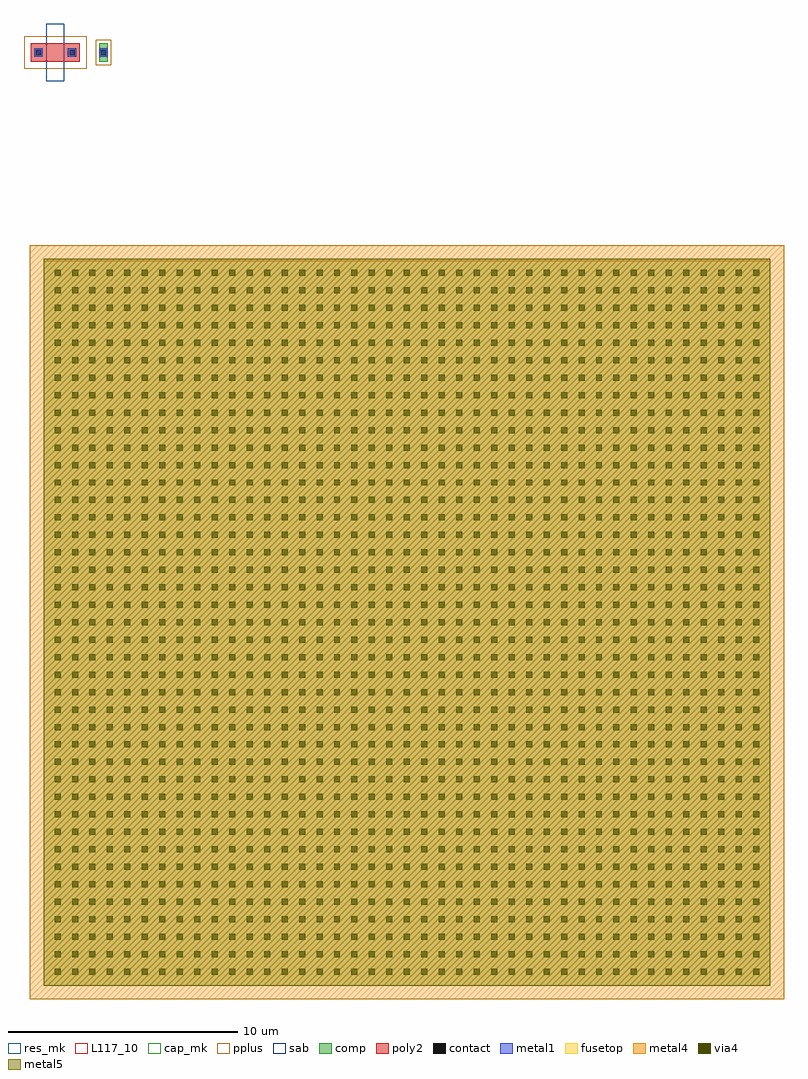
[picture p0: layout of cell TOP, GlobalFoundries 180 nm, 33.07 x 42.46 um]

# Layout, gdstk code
from math import pi, radians
import gdstk
lib = gdstk.Library(unit=1e-6, precision=1e-09)
def R(c, l, rs):  # rectangles x0, y0, x1, y1
    for r in rs: c.add(gdstk.rectangle(r[:2], r[2:], *l))
def A(c, l, x, y, w, h, nx, ny, dx, dy):  # array of equal rectangles
    R(c, l, [(x+i*dx, y+j*dy, x+i*dx+w, y+j*dy+h) for i in range(nx) for j in range(ny)])
comp = (22, 0)
poly2 = (30, 0)
pplus = (31, 0)
contact = (33, 0)
metal1 = (34, 0)
via4 = (41, 0)
metal4 = (46, 0)
sab = (49, 0)
fusetop = (75, 0)
metal5 = (81, 0)
res_mk = (110, 5)
cap_mk = (117, 5)
L117_10 = (117, 10)

ppolyf_u_resistor = lib.new_cell('ppolyf_u_resistor')
R(ppolyf_u_resistor, comp, [(-1.88,0,-1.52,0.8)])
R(ppolyf_u_resistor, poly2, [(-0.66,0,1.46,0.8)])
R(ppolyf_u_resistor, pplus, [(-0.96,-0.3,1.76,1.1), (-2.04,-0.16,-1.36,0.96)])
R(ppolyf_u_resistor, contact, [(-1.81,0.29,-1.59,0.51), (-0.44,0.29,-0.22,0.51), (1.02,0.29,1.24,0.51)])
R(ppolyf_u_resistor, metal1, [(-1.89,0.209,-1.51,0.591), (-0.52,0.209,-0.14,0.591), (0.94,0.209,1.32,0.591)])
R(ppolyf_u_resistor, sab, [(0,-0.856,0.8,1.656)])
R(ppolyf_u_resistor, res_mk, [(0,0,0.8,0.8)])

cap_mim = lib.new_cell('cap_mim')
A(cap_mim, via4, 0.48, 0.48, 0.26, 0.26, 41, 41, 0.76, 0.76)
R(cap_mim, metal4, [(-0.6,-0.6,32.22,32.22)])
R(cap_mim, fusetop, [(0,0,31.62,31.62)])
R(cap_mim, metal5, [(0,0,31.62,31.62)])
R(cap_mim, cap_mk, [(-0.6,-0.6,32.22,32.22)])
R(cap_mim, L117_10, [(0,0,31.62,0.1)])

top = lib.new_cell('TOP')
top.add(gdstk.Reference(ppolyf_u_resistor, (2.75,53.9), rotation=pi))
top.add(gdstk.Reference(cap_mim, (33.46,44.52), rotation=pi))

lib.write_gds('TOP.gds')
